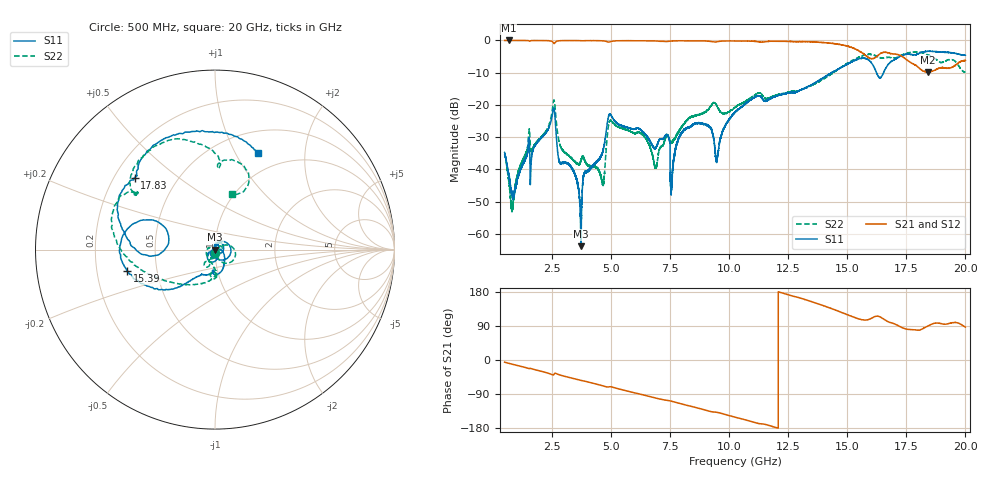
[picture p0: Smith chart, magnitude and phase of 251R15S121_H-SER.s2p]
!{251R15S121}
!Johanson Technology Inc.
!www.johansontechnology.com
!Test Board Conditions:
!Substrate Type  RO4350B
!Substrate Thickness  20 mil
!Substrate Dk  3.66
!TL Type: GCPW
!TL Trace Width  34 mil
!TL Gap  10 mil
!Electrode orientation  Horizontal
!DUT TOPOLOGY	SERIES
!Mounting Pad LxW  26x52 mil
! Created Thu Mar 12 16:48:05 2020
# mhz S ma R 50
! 2 Port Network Data from SP1.SP block
! freq  magS11  angS11  magS21  angS21  magS12  angS12  magS22  angS22
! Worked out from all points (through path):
!   19501 points, 500 MHz to 20 GHz, reference 50 ohm
!   highest |S21| = 0.00 dB at 672 MHz (marker M1); lowest = -9.8 dB at 18.4 GHz (marker M2)
!   group delay of S21, straight-line fit = 41.9 ps
!   lowest |S11| = -63.8 dB at 3.732 GHz (marker M3), VSWR 1.00, Z = 50.1 + j0.0246 ohm
!   |S11| at or under -10 dB: start of sweep to 14.34 GHz; 14.338 GHz to 14.3394 GHz (1.4 MHz wide, 0.00976 % of centre); 16.24 GHz to 16.54 GHz (298.8 MHz wide, 1.82 % of centre) (the widest 3 of 6)
!   |S22| runs from -53.1 to -3.5 dB; largest |S21 - S12| = 0.015
!   S11 on the Smith chart (normalised r, x): 500 MHz: 0.99, -0.04; 15.39 GHz: 0.33, -0.11; 17.83 GHz: 0.28, +0.36; 20 GHz: 0.75, +1.24
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500  0.01837 -101.8  0.9988 -5.8  0.9989 -5.7  0.01743 -95.4
672  0.008239 -118.5  0.9995 -8.7  0.9981 -8.7  0.006921 -87.9
841  0.003899 -171.1  0.9992 -11.4  0.9987 -11.4  0.00257 -3.8
1487  0.01904 80.7  0.9952 -21.7  0.9949 -21.7  0.02408 42.1
2555  0.08387 15.9  0.9305 -39.6  0.9319 -39.6  0.1058 1.9
2827  0.01296 179.5  0.9906 -39.3  0.9906 -39.2  0.0253 -58.5
3732  0.0006468 22.3  0.9901 -53.9  0.9901 -53.9  0.01361 -53.6
3750  0.001814 -54.8  0.9895 -54.1  0.9897 -54.1  0.01432 -56.9
4647  0.01839 -85.6  0.9872 -68.1  0.987 -68.0  0.005833 -129.1
4958  0.07261 -111.3  0.9509 -70.5  0.9504 -70.5  0.05734 -123.5
7000  0.0264 -115.4  0.9731 -102.2  0.9747 -102.2  0.01682 -126.5
7403  0.03392 -134.7  0.9642 -106.8  0.9644 -106.8  0.0338 -137.9
7598  0.008019 107.5  0.9825 -109.4  0.9821 -109.4  0.02742 -117.0
8080  0.04062 61.5  0.9875 -117.4  0.9875 -117.4  0.04978 -113.7
9486  0.0149 -11.4  0.9548 -137.9  0.9544 -138.0  0.09588 -128.0
10250  0.07696 -45.5  0.9813 -150.8  0.9811 -150.8  0.09148 -94.6
13500  0.2068 -127.0  0.9487 153.6  0.954 153.7  0.2035 -111.1
15387  0.5032 -166.5  0.7225 110.5  0.729 110.0  0.5258 180.0
16750  0.4336 -178.9  0.6411 100.7  0.63 100.5  0.5472 144.7
17829  0.6001 138.1  0.4263 79.6  0.4231 80.2  0.6642 123.5
18402  0.6775 116.2  0.3238 89.7  0.3206 89.6  0.5983 99.2
20000  0.5906 66.2  0.4881 86.8  0.4889 86.7  0.3251 73.4
